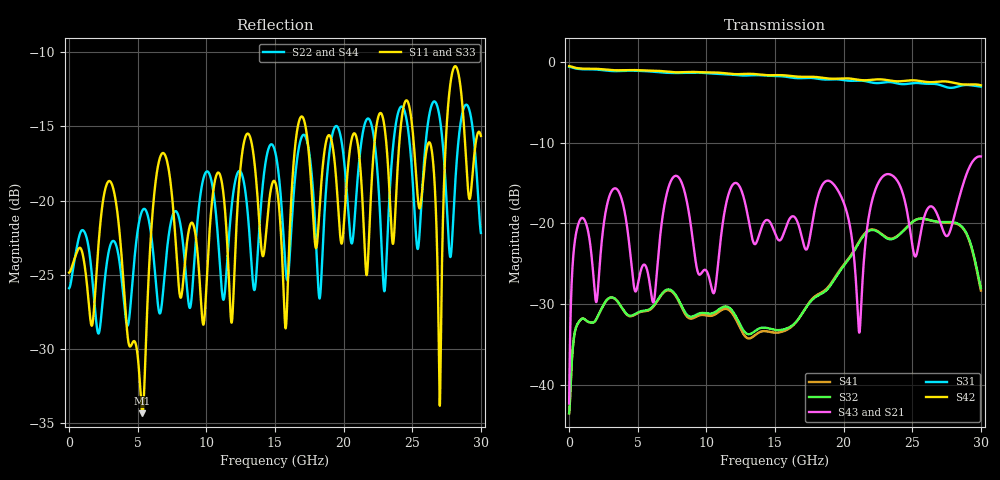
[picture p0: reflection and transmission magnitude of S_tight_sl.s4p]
!diffpair-meanders S_tight_sl (stripline: 6 mm serpentine, folds 0.15 mm apart), mesh medium
!ports 1 P_near 2 N_near 3 P_far 4 N_far; openEMS FDTD, lumped 50 ohm ports
# Hz S RI R 50.0
! Port[1] = P_near
! Port[2] = N_near
! Port[3] = P_far
! Port[4] = N_far
!freq ReS11 ImS11 ReS12 ImS12 ReS13 ImS13
! ReS14 ImS14
! ReS21 ImS21 ReS22 ImS22 ReS23 ImS23
! ReS24 ImS24
! ReS31 ImS31 ReS32 ImS32 ReS33 ImS33
! ReS34 ImS34
! ReS41 ImS41 ReS42 ImS42 ReS43 ImS43
! ReS44 ImS44
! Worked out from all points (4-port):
!   3000 points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, 10 MHz to 30 GHz, reference 50 ohm
!   strongest paths, dB at 10 MHz, 7.51 GHz, 15.01 GHz, 22.51 GHz, 30 GHz:
!     S42: -0.6, -1.3, -1.7, -2.2, -2.9
!     S31: -0.7, -1.4, -1.8, -2.7, -3.1
!     S43: -42.2, -14.5, -21.2, -15.1, -11.7
!     S21: -42.2, -14.5, -21.2, -15.1, -11.7
!     S32: -43.5, -28.3, -33.2, -21.0, -28.0
!     S41: -43.5, -28.4, -33.5, -21.0, -28.3
!   lowest |S11| = -34.3 dB at 5.35 GHz (marker M1), VSWR 1.04, Z = 51.2 + j1.56 ohm
!   |S11| at or under -10 dB: start of sweep to end of sweep
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1e7  -0.0572 0.00253  0.00742 0.00214  0.9278 -0.0146  0.00666 -0.000894
     0.00742 0.00214  -0.0507 0.00243  0.00666 -0.000894  0.9364 -0.0132
     0.9278 -0.0146  0.00666 -0.000894  -0.0572 0.00253  0.00742 0.00214
     0.00666 -0.000894  0.9364 -0.0132  0.00742 0.00214  -0.0507 0.00243
2.34e9  0.0515 0.0725  0.0439 0.0551  -0.838 0.291  0.0274 0.0106
        0.0439 0.0551  0.0315 0.0252  0.0274 0.0106  -0.8964 -0.051
        -0.838 0.291  0.0274 0.0106  0.0515 0.0725  0.0439 0.0551
        0.0274 0.0106  -0.8964 -0.051  0.0439 0.0551  0.0315 0.0252
5.35e9  0.0117 0.0153  0.0543 0.00482  -0.0548 -0.8726  -0.0178 0.0227
        0.0543 0.00478  0.0757 0.0535  -0.0177 0.0224  0.656 -0.5901
        -0.0548 -0.8726  -0.0178 0.0227  0.0116 0.0153  0.0542 0.00482
        -0.0177 0.0224  0.656 -0.5901  0.0543 0.00478  0.0757 0.0535
7.4e9  0.1138 0.0149  0.1587 0.087  -0.0345 0.8498  0.0262 -0.0287
       0.1588 0.0871  0.0562 0.0618  0.0259 -0.0283  -0.829 0.2344
       -0.0345 0.8498  0.0262 -0.0287  0.1138 0.0149  0.1587 0.087
       0.0259 -0.0283  -0.829 0.2344  0.1588 0.0871  0.0562 0.0618
9.52e9  0.051 0.0162  0.0458 -0.0149  0.0156 -0.8529  -0.0214 0.0178
        0.0459 -0.0149  0.0464 0.0889  -0.0209 0.0172  0.8554 0.0879
        0.0156 -0.8529  -0.0214 0.0178  0.051 0.0162  0.0458 -0.0149
        -0.0209 0.0172  0.8554 0.0879  0.0459 -0.0149  0.0464 0.0889
1.197e10  0.0137 0.0449  0.1659 0.056  0.4255 0.7107  0.00425 -0.028
          0.166 0.0559  0.0531 0.0924  0.00384 -0.027  -0.8362 -0.0332
          0.4255 0.7107  0.00424 -0.028  0.0137 0.0449  0.1659 0.056
          0.00385 -0.027  -0.8362 -0.0332  0.166 0.0559  0.0531 0.0924
3e10  0.1394 0.0886  0.2123 -0.1494  -0.6284 0.3079  0.0376 0.0129
      0.2123 -0.1488  0.0582 0.0517  0.0366 0.012  0.0245 -0.7132
      -0.6284 0.3079  0.0376 0.0129  0.1394 0.0885  0.2123 -0.1494
      0.0366 0.012  0.0245 -0.7132  0.2123 -0.1488  0.0582 0.0517
